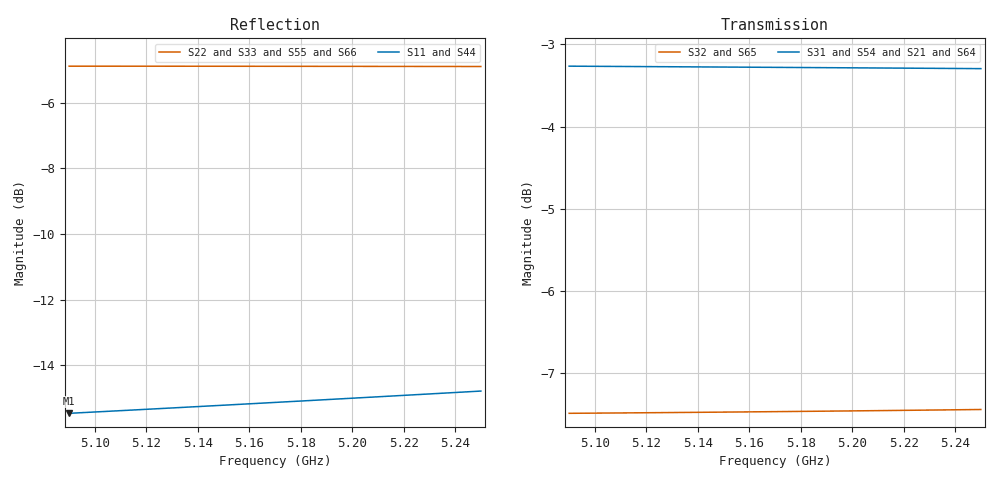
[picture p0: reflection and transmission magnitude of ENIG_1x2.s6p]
! Touchstone file exported from HFSS 2024.2.0
!  File:  D:/dev/EMBRAER/P1H/R05_Correcao/enig/1x2/ENIG_1x2.aedt
!  Generated:  10:55:04 AM Nov  7, 2026
!  Design:  Duplo_radial
!  Project:  ENIG_1x2
!  Setup:  Divisor
!  Solution:  Banda
# GHz S RI R 50.000000
! Terminal data exported
! Port[1] = A_IN
! Port[2] = A1
! Port[3] = A2
! Port[4] = B_IN
! Port[5] = B1
! Port[6] = B2
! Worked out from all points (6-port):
!   17 points, 5.09 GHz to 5.25 GHz, reference 50 ohm
!   strongest paths, dB at 5.09 GHz, 5.13 GHz, 5.17 GHz, 5.21 GHz, 5.25 GHz:
!     S31: -3.3, -3.3, -3.3, -3.3, -3.3
!     S54: -3.3, -3.3, -3.3, -3.3, -3.3
!     S21: -3.3, -3.3, -3.3, -3.3, -3.3
!     S64: -3.3, -3.3, -3.3, -3.3, -3.3
!     S32: -7.5, -7.5, -7.5, -7.5, -7.4
!     S65: -7.5, -7.5, -7.5, -7.5, -7.4
!   lowest |S11| = -15.5 dB at 5.09 GHz (marker M1), VSWR 1.41, Z = 50 - j17.1 ohm
!   |S11| at or under -10 dB: start of sweep to end of sweep
